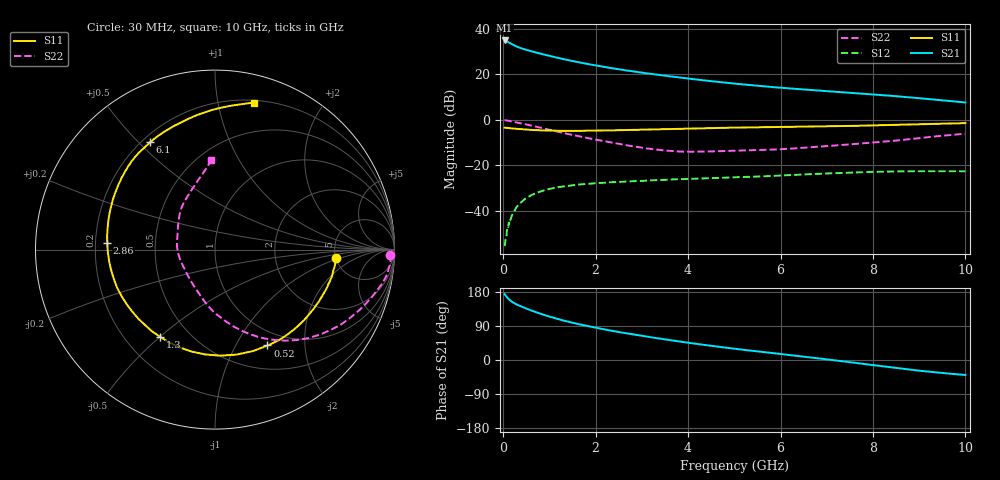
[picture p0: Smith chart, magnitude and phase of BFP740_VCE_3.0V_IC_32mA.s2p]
! Infineon Technologies  Discrete & RF Semiconductors
! BFP740
! VCE =  3.0 V,  IC =  32 mA
! Common Emitter S-Parameters:  Jan 2016
# GHz  S  MA  R  50
!  f  S11  S21  S12  S22
! GHz  MAG  ANG  MAG  ANG  MAG  ANG  MAG  ANG
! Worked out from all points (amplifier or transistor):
!   229 points, 30 MHz to 10 GHz, reference 50 ohm
!   highest |S21| = 34.8 dB at 30 MHz (marker M1)
!   |S21| within 3 dB of that: start of sweep to 332 MHz
!   unconditionally stable (mu >= 1): 5.86 GHz to 7.95 GHz; 8.034 GHz to 8.394 GHz; 9.052 GHz to 9.809 GHz (the widest 3 of 4)
!   at 280 MHz: K = 0.29, MSG = 35.4 dB, |S12| = -38.6 dB
!   at 1.78 GHz: K = 0.52, MSG = 26.4 dB, |S12| = -28.1 dB
!   at 10 GHz: K = 0.99, MSG = 15.1 dB, |S12| = -22.6 dB
!   S11 on the Smith chart (normalised r, x): 30 MHz: 4.97, -0.88; 520 MHz: 0.80, -1.36; 1.3 GHz: 0.34, -0.50; 2.86 GHz: 0.25, +0.03; 6.1 GHz: 0.23, +0.54; 10 GHz: 0.22, +1.27
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0.03  0.6739 -4.1  55.13 174.0  0.0017 89.0  0.9782 -1.7
0.06  0.6724 -8.5  54.19 168.7  0.0025 74.4  0.9778 -5.1
0.11  0.6636 -15.6  50.92 161.4  0.0045 90.1  0.9605 -9.8
0.15  0.656 -20.5  48.09 157.0  0.0062 86.4  0.9397 -12.9
0.19  0.6481 -25.4  45.59 153.5  0.0081 79.6  0.9205 -15.7
0.26  0.6376 -33.5  41.97 148.4  0.0109 75.8  0.8897 -20.2
0.34  0.6287 -42.5  38.73 143.9  0.0141 70.7  0.8568 -24.9
0.52  0.6088 -61.3  33.81 134.9  0.0198 63.6  0.7857 -34.6
0.7  0.5972 -78.4  30.15 126.6  0.0247 56.3  0.7165 -43.5
0.88  0.5867 -93.6  27.12 119.1  0.0286 50.3  0.6482 -51.4
1.1  0.5793 -109.7  23.94 110.9  0.0322 44.6  0.5729 -60.1
1.3  0.5746 -122.3  21.5 104.2  0.0349 40.5  0.5152 -66.9
1.7  0.5764 -142.8  17.77 92.7  0.0387 34.3  0.4229 -78.6
2.26  0.5874 -164.8  14.07 79.0  0.0424 28.7  0.3297 -94.2
2.86  0.6015 176.6  11.36 66.4  0.0455 24.4  0.2575 -110.9
3.4  0.6187 162.9  9.586 56.2  0.048 21.3  0.2184 -129.3
4.2  0.6488 145.9  7.636 42.2  0.0515 17.4  0.2007 -159.0
5.1  0.6788 132.1  6.103 28.4  0.0553 13.9  0.2122 175.7
6.1  0.699 121.2  4.975 14.6  0.0609 10.6  0.23 154.7
6.8  0.7154 113.2  4.416 4.6  0.0656 6.6  0.2565 142.2
8.4  0.7754 91.9  3.367 -19.4  0.0738 -5.0  0.344 114.6
10  0.8473 75.2  2.409 -39.6  0.0745 -15.2  0.4981 92.5
